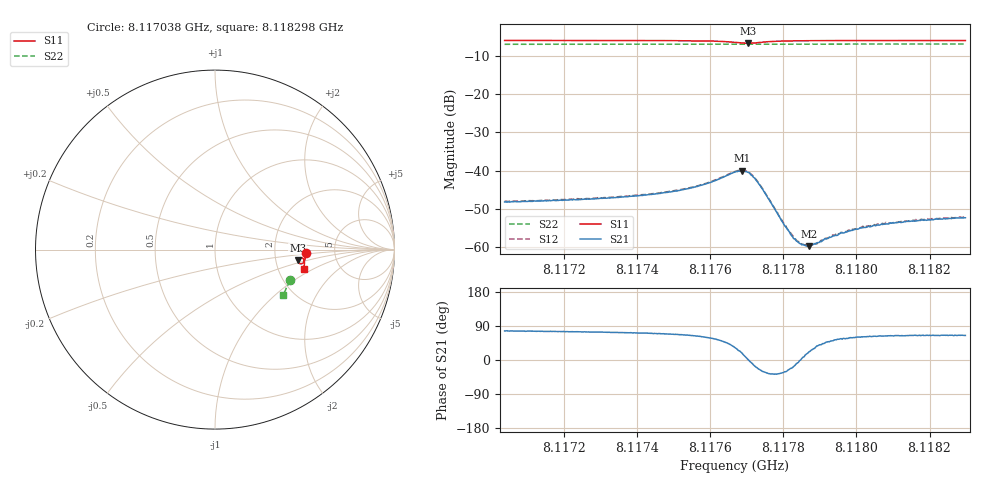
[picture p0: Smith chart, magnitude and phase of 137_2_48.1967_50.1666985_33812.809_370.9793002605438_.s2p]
#  HZ  S  RI  R  50.00
! Rohde & Schwarz Vector Network Analyzer
! Rohde-Schwarz,ZNB20-2Port,1311601062101988,3.16
! Created: UTC 3/20/2024, 11:42:09 AM
! freq[Hz]  re:S11  im:S11  re:S21  im:S21  re:S12  im:S12  re:S22  im:S22
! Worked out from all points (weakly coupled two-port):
!   401 points, 8.117038 GHz to 8.118298 GHz, reference 50 ohm
!   highest |S21| = -40.00 dB at 8.117687 GHz (marker M1); lowest = -59.8 dB at 8.11787 GHz (marker M2)
!   lowest |S11| = -6.7 dB at 8.117703 GHz (marker M3), VSWR 2.73, Z = 133 - j20.3 ohm
!   |S11| at or under -10 dB: nowhere
!   |S22| runs from -6.9 to -6.8 dB; largest |S21 - S12| = 0.00034
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8.1170377e9  0.5056 -0.02  0.000883 0.00377  0.000957 0.00384  0.4165 -0.1721
8.1172488e9  0.5044 -0.0371  0.00115 0.00401  0.00119 0.0041  0.4114 -0.1859
8.1174599e9  0.5009 -0.0561  0.00173 0.0047  0.00183 0.00475  0.4055 -0.1994
8.1175702e9  0.4955 -0.0692  0.00291 0.00561  0.00302 0.00565  0.4022 -0.2066
8.117608e9  0.4906 -0.0747  0.00397 0.00603  0.00412 0.0061  0.4007 -0.2092
8.1176679e9  0.4709 -0.078  0.00804 0.00512  0.00825 0.00515  0.3983 -0.2126
8.1176868e9  0.4627 -0.0706  0.00949 0.00317  0.00969 0.00298  0.3973 -0.2134
8.1177025e9  0.4605 -0.0597  0.00949 0.000365  0.00969 0.000319  0.397 -0.2136
8.1177183e9  0.4655 -0.0496  0.00797 -0.00182  0.00819 -0.00194  0.3968 -0.2142
8.1177372e9  0.4757 -0.0448  0.00563 -0.00278  0.0057 -0.00288  0.3968 -0.2153
8.1178065e9  0.4951 -0.0557  0.00157 -0.000942  0.00164 -0.000944  0.3956 -0.2203
8.1178286e9  0.4967 -0.0596  0.00122 -0.00037  0.00128 -0.000418  0.3947 -0.2216
8.1178506e9  0.4977 -0.0631  0.00106 7.87e-05  0.00108 6.75e-05  0.394 -0.2232
8.1178695e9  0.4981 -0.0657  0.000955 0.000362  0.001 0.000401  0.3936 -0.2244
8.117879e9  0.4982 -0.067  0.00094 0.000489  0.000961 0.000495  0.3932 -0.225
8.1178947e9  0.4984 -0.0691  0.000899 0.000694  0.00091 0.000688  0.3927 -0.226
8.1179388e9  0.4985 -0.0741  0.000856 0.00112  0.000861 0.0011  0.3912 -0.2289
8.117983e9  0.4982 -0.0786  0.000834 0.00139  0.000897 0.00136  0.3897 -0.2315
8.1180649e9  0.4974 -0.0863  0.000855 0.00174  0.000918 0.00179  0.3871 -0.2367
8.1180901e9  0.497 -0.0884  0.00089 0.00181  0.000878 0.00186  0.3862 -0.2383
8.1181783e9  0.4957 -0.0959  0.000952 0.00204  0.00101 0.00207  0.3832 -0.2437
8.1182981e9  0.4938 -0.1054  0.00102 0.00218  0.00109 0.0022  0.379 -0.2509
